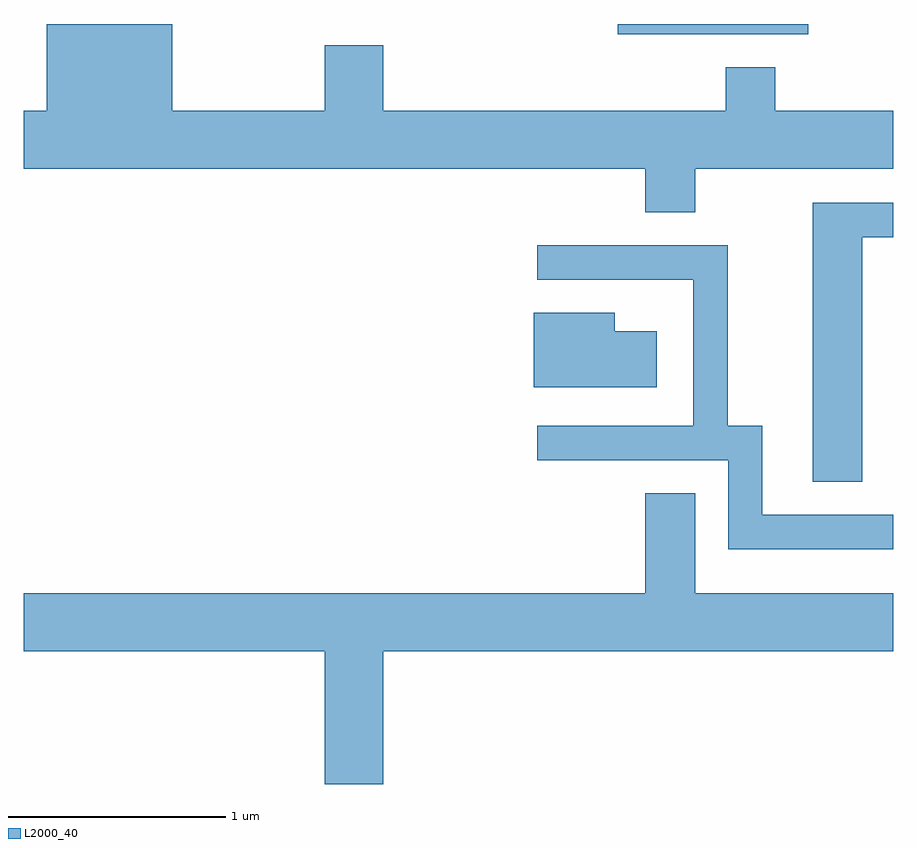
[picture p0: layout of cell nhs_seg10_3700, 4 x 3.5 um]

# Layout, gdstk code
import gdstk
lib = gdstk.Library(unit=1e-6, precision=1e-09)
def R(c, l, rs):  # rectangles x0, y0, x1, y1
    for r in rs: c.add(gdstk.rectangle(r[:2], r[2:], *l))
def P(c, l, *ps):  # polygons
    for p in ps: c.add(gdstk.Polygon(p, *l))
L2000_40 = (2000, 40)

nhs_seg10_3700 = lib.new_cell('nhs_seg10_3700')
R(nhs_seg10_3700, L2000_40, [(296.343,2174.476,297.219,2174.522)])
P(nhs_seg10_3700, L2000_40, [(296.699,2173.856),(297.611,2173.856),(297.611,2174.124),(297.069,2174.124),(297.069,2174.324),(296.841,2174.324),(296.841,2174.124),(295.264,2174.124),(295.264,2174.424),(294.996,2174.424),(294.996,2174.124),(294.294,2174.124),(294.294,2174.522),(293.716,2174.522),(293.716,2174.124),(293.611,2174.124),(293.611,2173.856),(296.471,2173.856),(296.471,2173.656),(296.699,2173.656)],
  [(297.469,2173.541),(297.611,2173.541),(297.611,2173.699),(297.241,2173.699),(297.241,2172.416),(297.469,2172.416)],
  [(297.611,2172.264),(297.009,2172.264),(297.009,2172.674),(296.849,2172.674),(296.849,2173.504),(295.973,2173.504),(295.973,2173.346),(296.691,2173.346),(296.691,2172.674),(295.973,2172.674),(295.973,2172.516),(296.851,2172.516),(296.851,2172.106),(297.611,2172.106)],
  [(296.524,2173.109),(296.329,2173.109),(296.329,2173.194),(295.956,2173.194),(295.956,2172.851),(296.524,2172.851)],
  [(295.264,2171.636),(297.611,2171.636),(297.611,2171.904),(296.699,2171.904),(296.699,2172.364),(296.471,2172.364),(296.471,2171.904),(293.611,2171.904),(293.611,2171.636),(294.996,2171.636),(294.996,2171.026),(295.264,2171.026)])

lib.write_gds('nhs_seg10_3700.gds')
